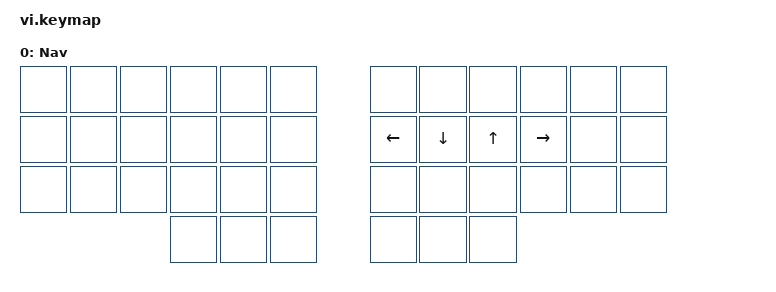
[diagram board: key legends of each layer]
#include <behaviors.dtsi>
#include <dt-bindings/zmk/keys.h>

/ {
    keymap {
        compatible = "zmk,keymap";

        Nav {
            bindings = <
&none  &none  &none  &none  &none  &none    &none     &none     &none   &none      &none  &none
&none  &none  &none  &none  &none  &none    &kp LEFT  &kp DOWN  &kp UP  &kp RIGHT  &none  &none
&none  &none  &none  &none  &none  &none    &none     &none     &none   &none      &none  &none
                     &none  &none  &none    &none     &none     &none
            >;
        };
    };
};
